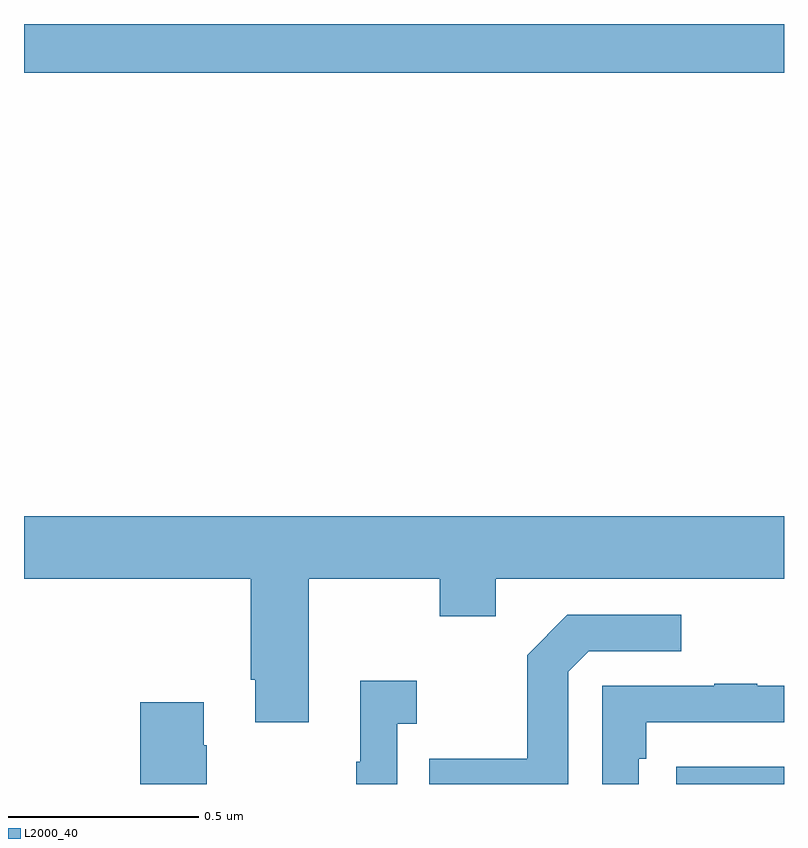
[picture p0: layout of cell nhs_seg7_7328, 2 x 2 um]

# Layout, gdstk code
import gdstk
lib = gdstk.Library(unit=1e-6, precision=1e-09)
def R(c, l, rs):  # rectangles x0, y0, x1, y1
    for r in rs: c.add(gdstk.rectangle(r[:2], r[2:], *l))
def P(c, l, *ps):  # polygons
    for p in ps: c.add(gdstk.Polygon(p, *l))
L2000_40 = (2000, 40)

nhs_seg7_7328 = lib.new_cell('nhs_seg7_7328')
R(nhs_seg7_7328, L2000_40, [(210.717,1076,211,1076.046), (209,1077.872,211,1078)])
P(nhs_seg7_7328, L2000_40, [(209.749,1076.54),(210.094,1076.54),(210.094,1076.441),(210.241,1076.441),(210.241,1076.54),(211,1076.54),(211,1076.704),(209,1076.704),(209,1076.54),(209.597,1076.54),(209.597,1076.275),(209.609,1076.275),(209.609,1076.163),(209.749,1076.163)],
  [(210.432,1076.295),(210.486,1076.349),(210.73,1076.349),(210.73,1076.445),(210.429,1076.445),(210.324,1076.339),(210.324,1076.067),(210.067,1076.067),(210.067,1076),(210.432,1076)],
  [(209.982,1076.159),(210.034,1076.159),(210.034,1076.272),(209.885,1076.272),(209.885,1076.059),(209.874,1076.059),(209.874,1076),(209.982,1076)],
  [(210.618,1076.066),(210.638,1076.066),(210.638,1076.163),(211,1076.163),(211,1076.259),(210.929,1076.259),(210.929,1076.264),(210.817,1076.264),(210.817,1076.259),(210.522,1076.259),(210.522,1076),(210.618,1076)],
  [(209.481,1076.102),(209.473,1076.102),(209.473,1076.215),(209.306,1076.215),(209.306,1076),(209.481,1076)])

lib.write_gds('nhs_seg7_7328.gds')
